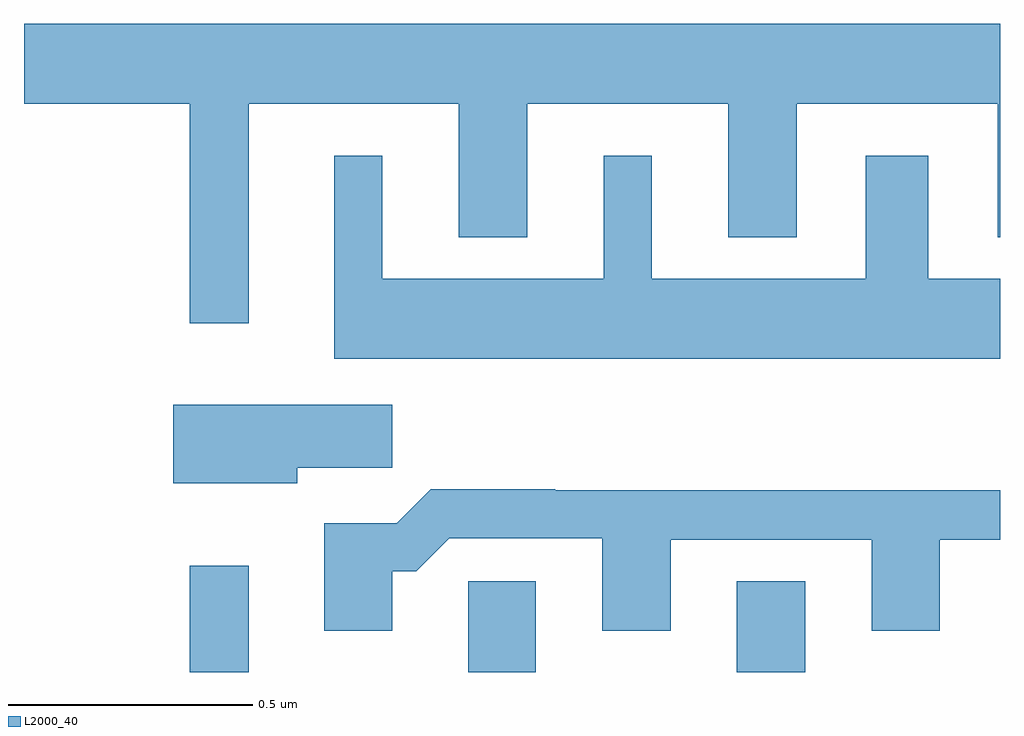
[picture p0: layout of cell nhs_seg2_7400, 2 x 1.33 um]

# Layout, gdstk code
import gdstk
lib = gdstk.Library(unit=1e-6, precision=1e-09)
def R(c, l, rs):  # rectangles x0, y0, x1, y1
    for r in rs: c.add(gdstk.rectangle(r[:2], r[2:], *l))
def P(c, l, *ps):  # polygons
    for p in ps: c.add(gdstk.Polygon(p, *l))
L2000_40 = (2000, 40)

nhs_seg2_7400 = lib.new_cell('nhs_seg2_7400')
R(nhs_seg2_7400, L2000_40, [(203.34,651.8,203.461,652.018), (203.91,651.8,204.049,651.986), (204.461,651.8,204.601,651.986)])
P(nhs_seg2_7400, L2000_40, [(203.461,652.964),(203.891,652.964),(203.891,652.691),(204.031,652.691),(204.031,652.964),(204.443,652.964),(204.443,652.691),(204.583,652.691),(204.583,652.964),(204.995,652.964),(204.995,652.691),(205,652.691),(205,653.128),(203,653.128),(203,652.964),(203.34,652.964),(203.34,652.515),(203.461,652.515)],
  [(205,652.606),(204.853,652.606),(204.853,652.858),(204.725,652.858),(204.725,652.606),(204.286,652.606),(204.286,652.858),(204.188,652.858),(204.188,652.606),(203.734,652.606),(203.734,652.858),(203.636,652.858),(203.636,652.442),(205,652.442)],
  [(203.56,652.219),(203.755,652.219),(203.755,652.348),(203.306,652.348),(203.306,652.187),(203.56,652.187)],
  [(203.755,652.007),(203.804,652.007),(203.871,652.074),(204.185,652.074),(204.185,651.885),(204.325,651.885),(204.325,652.071),(204.737,652.071),(204.737,651.885),(204.877,651.885),(204.877,652.071),(205,652.071),(205,652.172),(204.089,652.172),(204.089,652.175),(203.834,652.175),(203.764,652.105),(203.615,652.105),(203.615,651.885),(203.755,651.885)])

lib.write_gds('nhs_seg2_7400.gds')
